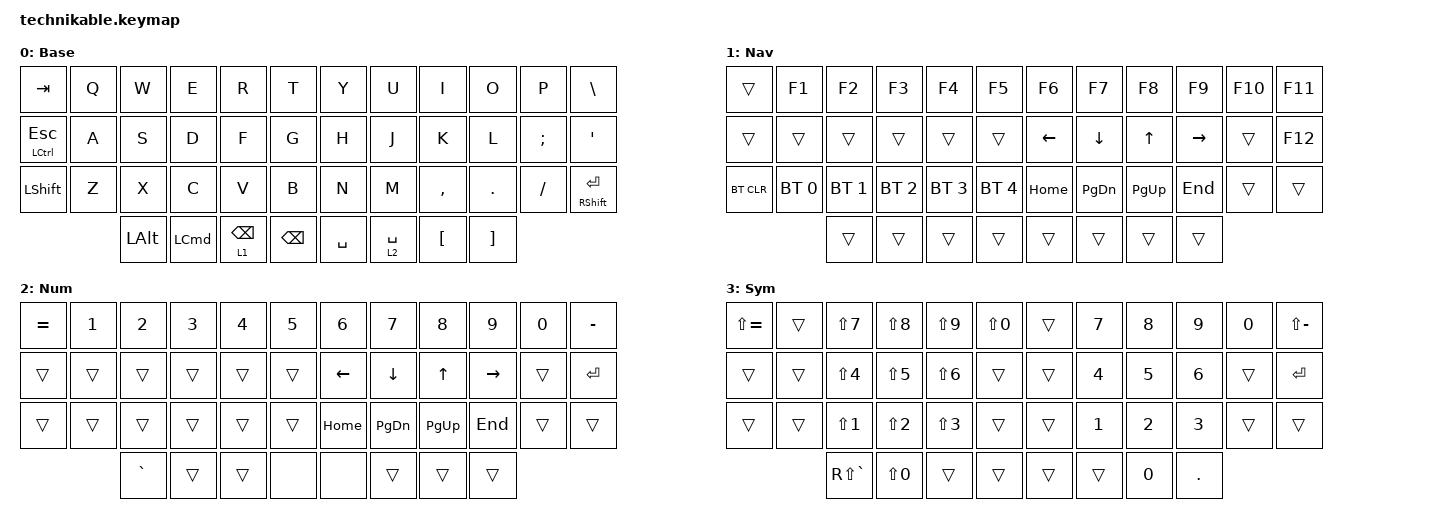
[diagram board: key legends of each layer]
/*
 * Copyright (c) 2022 Pete Johanson
 *
 * SPDX-License-Identifier: MIT
 */

#include <behaviors.dtsi>
#include <dt-bindings/zmk/bt.h>
#include <dt-bindings/zmk/keys.h>

#define BAS_L 0
#define NAV_L 1
#define NUM_L 2
#define SYM_L 3

// Using layer taps on thumbs, having quick tap as well helps w/ repeating space/backspace

&lt { quick_tap_ms = <200>; };

/ {
    chosen { zmk,matrix_transform = &ortho_transform; };

    conditional_layers {
        compatible = "zmk,conditional-layers";

        tri_layer {
            if-layers = <1 2>;
            then-layer = <3>;
        };
    };

    keymap {
        compatible = "zmk,keymap";

        base_layer {
            label = "Base";
            bindings = <
&kp TAB           &kp Q  &kp W         &kp E             &kp R            &kp T                     &kp Y        &kp U             &kp I              &kp O    &kp P     &kp BACKSLASH
&mt LCTRL ESCAPE  &kp A  &kp S         &kp D             &kp F            &kp G                     &kp H        &kp J             &kp K              &kp L    &kp SEMI  &kp SINGLE_QUOTE
&kp LSHFT         &kp Z  &kp X         &kp C             &kp V            &kp B                     &kp N        &kp M             &kp COMMA          &kp DOT  &kp FSLH  &mt RIGHT_SHIFT ENTER
                         &kp LEFT_ALT  &kp LEFT_COMMAND  &lt 1 BACKSPACE  &kp BACKSPACE  &kp SPACE  &lt 2 SPACE  &kp LEFT_BRACKET  &kp RIGHT_BRACKET
            >;
        };

        nav_layer {
            label = "Nav";
            bindings = <
&trans      &kp F1        &kp F2        &kp F3        &kp F4        &kp F5                &kp F6    &kp F7          &kp F8        &kp F9     &kp F10  &kp F11
&trans      &trans        &trans        &trans        &trans        &trans                &kp LEFT  &kp DOWN_ARROW  &kp UP_ARROW  &kp RIGHT  &trans   &kp F12
&bt BT_CLR  &bt BT_SEL 0  &bt BT_SEL 1  &bt BT_SEL 2  &bt BT_SEL 3  &bt BT_SEL 4          &kp HOME  &kp PAGE_DOWN   &kp PG_UP     &kp END    &trans   &trans
                          &trans        &trans        &trans        &trans        &trans  &trans    &trans          &trans
            >;
        };

        num_layer {
            label = "Num";
            bindings = <
&kp EQUAL  &kp NUMBER_1  &kp NUMBER_2  &kp NUMBER_3  &kp NUMBER_4  &kp N5         &kp NUMBER_6    &kp N7         &kp N8        &kp N9     &kp N0  &kp MINUS
&trans     &trans        &trans        &trans        &trans        &trans         &kp LEFT_ARROW  &kp DOWN       &kp UP_ARROW  &kp RIGHT  &trans  &kp ENTER
&trans     &trans        &trans        &trans        &trans        &trans         &kp HOME        &kp PAGE_DOWN  &kp PAGE_UP   &kp END    &trans  &trans
                         &kp GRAVE     &trans        &trans        &none   &none  &trans          &trans         &trans
            >;
        };

        sym_layer {
            label = "Sym";
            bindings = <
&kp LS(EQUAL)  &trans  &kp LS(N7)        &kp LS(N8)        &kp LS(N9)        &kp LS(N0)          &trans  &kp N7        &kp N8        &kp N9        &kp N0  &kp LS(MINUS)
&trans         &trans  &kp LS(NUMBER_4)  &kp LS(N5)        &kp LS(NUMBER_6)  &trans              &trans  &kp NUMBER_4  &kp N5        &kp NUMBER_6  &trans  &kp ENTER
&trans         &trans  &kp LS(NUMBER_1)  &kp LS(NUMBER_2)  &kp LS(NUMBER_3)  &trans              &trans  &kp NUMBER_1  &kp NUMBER_2  &kp NUMBER_3  &trans  &trans
                       &kp RS(GRAVE)     &kp LS(N0)        &trans            &trans      &trans  &trans  &kp N0        &kp PERIOD
            >;
        };
    };
};
